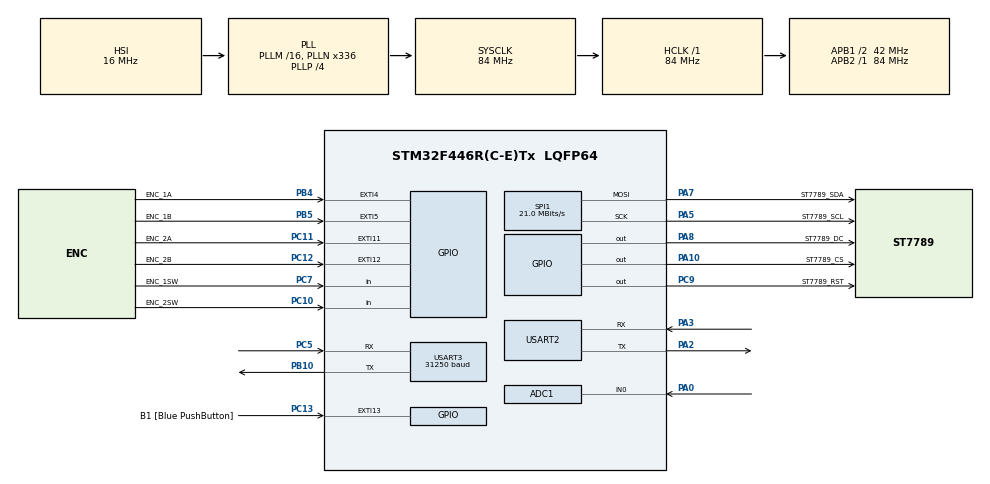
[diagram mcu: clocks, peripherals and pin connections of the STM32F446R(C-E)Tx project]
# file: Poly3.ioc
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ADC1.Channel-1\#ChannelRegularConversion=ADC_CHANNEL_0
ADC1.NbrOfConversionFlag=1
ADC1.Rank-1\#ChannelRegularConversion=1
ADC1.SamplingTime-1\#ChannelRegularConversion=ADC_SAMPLETIME_3CYCLES
ADC1.master=1
Dma.Request0=SPI1_TX
Dma.SPI1_TX.0.Direction=DMA_MEMORY_TO_PERIPH
Dma.SPI1_TX.0.FIFOMode=DMA_FIFOMODE_DISABLE
Dma.SPI1_TX.0.Instance=DMA2_Stream3
Dma.SPI1_TX.0.MemDataAlignment=DMA_MDATAALIGN_BYTE
Dma.SPI1_TX.0.MemInc=DMA_MINC_ENABLE
Dma.SPI1_TX.0.Mode=DMA_NORMAL
Dma.SPI1_TX.0.PeriphDataAlignment=DMA_PDATAALIGN_BYTE
Dma.SPI1_TX.0.PeriphInc=DMA_PINC_DISABLE
Dma.SPI1_TX.0.Priority=DMA_PRIORITY_VERY_HIGH
Mcu.Family=STM32F4
Mcu.Name=STM32F446R(C-E)Tx
Mcu.Package=LQFP64
NVIC.DMA2_Stream3_IRQn=true\:0\:0\:false\:false\:true\:false\:true\:true
NVIC.PriorityGroup=NVIC_PRIORITYGROUP_4
NVIC.TIM2_IRQn=true\:0\:0\:false\:false\:true\:true\:true\:true
NVIC.TIM6_DAC_IRQn=true\:15\:0\:false\:false\:true\:false\:true\:true
NVIC.TimeBase=TIM6_DAC_IRQn
NVIC.TimeBaseIP=TIM6
PA0-WKUP.Signal=ADCx_IN0
PA10.GPIO_Label=ST7789_CS
PA10.Signal=GPIO_Output
PA13.GPIO_Label=TMS
PA13.Mode=Serial_Wire
PA13.Signal=SYS_JTMS-SWDIO
PA14.GPIO_Label=TCK
PA14.Mode=Serial_Wire
PA14.Signal=SYS_JTCK-SWCLK
PA2.Mode=Asynchronous
PA2.Signal=USART2_TX
PA3.Mode=Asynchronous
PA3.Signal=USART2_RX
PA5.GPIO_Label=ST7789_SCL
PA5.Mode=TX_Only_Simplex_Unidirect_Master
PA5.Signal=SPI1_SCK
PA7.GPIO_Label=ST7789_SDA
PA7.Mode=TX_Only_Simplex_Unidirect_Master
PA7.Signal=SPI1_MOSI
PA8.GPIO_Label=ST7789_DC
PA8.Signal=GPIO_Output
PB10.Mode=Asynchronous
PB10.Signal=USART3_TX
PB3.GPIO_Label=SWO
PB3.Signal=SYS_JTDO-SWO
PB4.GPIO_Label=ENC_1A
PB4.GPIO_PuPd=GPIO_PULLUP
PB4.Signal=GPXTI4
PB5.GPIO_Label=ENC_1B
PB5.GPIO_PuPd=GPIO_PULLUP
PB5.Signal=GPXTI5
PC10.GPIO_Label=ENC_2SW
PC10.GPIO_PuPd=GPIO_PULLUP
PC10.Signal=GPIO_Input
PC11.GPIO_Label=ENC_2A
PC11.GPIO_PuPd=GPIO_PULLUP
PC11.Signal=GPXTI11
PC12.GPIO_Label=ENC_2B
PC12.GPIO_PuPd=GPIO_PULLUP
PC12.Signal=GPXTI12
PC13.GPIO_Label=B1 [Blue PushButton]
PC13.GPIO_ModeDefaultEXTI=GPIO_MODE_IT_FALLING
PC13.Signal=GPXTI13
PC14-OSC32_IN.Mode=LSE-External-Oscillator
PC14-OSC32_IN.Signal=RCC_OSC32_IN
PC15-OSC32_OUT.Mode=LSE-External-Oscillator
PC15-OSC32_OUT.Signal=RCC_OSC32_OUT
PC5.Mode=Asynchronous
PC5.Signal=USART3_RX
PC7.GPIO_Label=ENC_1SW
PC7.GPIO_PuPd=GPIO_PULLUP
PC7.Signal=GPIO_Input
PC9.GPIO_Label=ST7789_RST
PC9.Signal=GPIO_Output
PH0-OSC_IN.Mode=HSE-External-Oscillator
PH0-OSC_IN.Signal=RCC_OSC_IN
PH1-OSC_OUT.Mode=HSE-External-Oscillator
PH1-OSC_OUT.Signal=RCC_OSC_OUT
ProjectManager.HeapSize=0x200
ProjectManager.StackSize=0x400
ProjectManager.TargetToolchain=STM32CubeIDE
RCC.48MHZClocksFreq_Value=84000000
RCC.AHBFreq_Value=84000000
RCC.APB1CLKDivider=RCC_HCLK_DIV2
RCC.APB1Freq_Value=42000000
RCC.APB1TimFreq_Value=84000000
RCC.APB2Freq_Value=84000000
RCC.APB2TimFreq_Value=84000000
RCC.CortexFreq_Value=84000000
RCC.FLatency-AdvancedSettings=FLASH_LATENCY_2
RCC.HCLKFreq_Value=84000000
RCC.HSE_VALUE=8000000
RCC.HSI_VALUE=16000000
RCC.PLLN=336
RCC.PLLP=RCC_PLLP_DIV4
RCC.SYSCLKFreq_VALUE=84000000
RCC.SYSCLKSource=RCC_SYSCLKSOURCE_PLLCLK
RCC.USBFreq_Value=168000000
RCC.VCOOutputFreq_Value=336000000
SH.ADCx_IN0.0=ADC1_IN0,IN0
SPI1.BaudRatePrescaler=SPI_BAUDRATEPRESCALER_4
SPI1.CLKPhase=SPI_PHASE_2EDGE
SPI1.CLKPolarity=SPI_POLARITY_HIGH
SPI1.CalculateBaudRate=21.0 MBits/s
SPI1.Direction=SPI_DIRECTION_2LINES
SPI1.Mode=SPI_MODE_MASTER
SPI1.VirtualType=VM_MASTER
TIM2.Period=99
TIM2.Prescaler=8399
USART2.VirtualMode=VM_ASYNC
USART3.BaudRate=31250
USART3.VirtualMode=VM_ASYNC
VP_SYS_VS_tim6.Mode=TIM6
VP_TIM2_VS_ClockSourceINT.Mode=Internal
board=NUCLEO-F446RE

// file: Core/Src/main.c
/* USER CODE BEGIN Header */
/**
 ******************************************************************************
 * @file           : main.c
 * @brief          : Main program body
 ******************************************************************************
 * @attention
 *
 * Copyright (c) 2025 STMicroelectronics.
 * All rights reserved.
 *
 * This software is licensed under terms that can be found in the LICENSE file
 * in the root directory of this software component.
 * If no LICENSE file comes with this software, it is provided AS-IS.
 *
 ******************************************************************************
 */
/* USER CODE END Header */
#include "main.h"

/* USER CODE BEGIN Includes */
#include <stdbool.h>

#include "debug.h"

#include "display.h"
#include "st7789.h"
#include "sequencer.h"
#include "midi.h"

#include "encoder.h"
#include "potentiometer.h"
/* USER CODE END Includes */

/* USER CODE BEGIN PD */
#define DEBUG
/* USER CODE END PD */

// ADC handles for potentiometers
ADC_HandleTypeDef hadc1;

SPI_HandleTypeDef hspi1;
DMA_HandleTypeDef hdma_spi1_tx;

TIM_HandleTypeDef htim2;

UART_HandleTypeDef huart2;
UART_HandleTypeDef huart3;

/* USER CODE BEGIN PV */
encoder_t encoder1;
encoder_t encoder2;
potentiometer_t pot1;
/* USER CODE END PV */

void SystemClock_Config(void);
static void MX_GPIO_Init(void);
static void MX_DMA_Init(void);
static void MX_SPI1_Init(void);
static void MX_TIM2_Init(void);
static void MX_USART3_UART_Init(void);
static void MX_USART2_UART_Init(void);
static void MX_ADC1_Init(void);

/* USER CODE BEGIN 0 */
// Printf redirection
int _write(int file, char *ptr, int len) {
	HAL_UART_Transmit(&huart2, (uint8_t*) ptr, len, HAL_MAX_DELAY);
	return len;
}
/* USER CODE END 0 */

int main(void)
{

  /* MCU Configuration--------------------------------------------------------*/

  /* Reset of all peripherals, Initializes the Flash interface and the Systick. */
  HAL_Init();

  /* Configure the system clock */
  SystemClock_Config();

  /* Initialize all configured peripherals */
  MX_GPIO_Init();
  MX_DMA_Init();
  MX_SPI1_Init();
  MX_TIM2_Init();
  MX_USART3_UART_Init();
  MX_USART2_UART_Init();
  MX_ADC1_Init();
  /* USER CODE BEGIN 2 */
  debug_init();
	//Display_Init();
	ST7789_Init();
	ST7789_Test();

	encoder_init(&encoder1, 1);
	encoder_init(&encoder2, 2);
	pot_init(&pot1, &hadc1, ADC_CHANNEL_0, 1, POT_LINEAR);
  /* USER CODE END 2 */

  /* Infinite loop */
  /* USER CODE BEGIN WHILE */
	debug_printf("Starting main loop...\n\r");
	while (1) {
    /* USER CODE END WHILE */

    /* USER CODE BEGIN 3 */
		// Read pins (adjust to your actual GPIO)

		        // Update encoder
		        encoder_update(&encoder1);

		        // Update button
		        encoder_update_button(&encoder1);

		        HAL_Delay(1);  // Poll every 1ms

		// Update pots
		       /* if (pot_update(&pot1)) {
		            uint16_t bpm = pot_get_range(&pot1, 60, 240);  // 60-240 BPM
		            debug_printf("Tempo: %d BPM\n\r", bpm);
		            // Send MIDI CC or update tempo
		        }

		        HAL_Delay(50);*/
	}
  /* USER CODE END 3 */
}

void SystemClock_Config(void)
{
  RCC_OscInitTypeDef RCC_OscInitStruct = {0};
  RCC_ClkInitTypeDef RCC_ClkInitStruct = {0};

  /** Configure the main internal regulator output voltage
  */
  __HAL_RCC_PWR_CLK_ENABLE();
  __HAL_PWR_VOLTAGESCALING_CONFIG(PWR_REGULATOR_VOLTAGE_SCALE3);

  /** Initializes the RCC Oscillators according to the specified parameters
  * in the RCC_OscInitTypeDef structure.
  */
  RCC_OscInitStruct.OscillatorType = RCC_OSCILLATORTYPE_HSI;
  RCC_OscInitStruct.HSIState = RCC_HSI_ON;
  RCC_OscInitStruct.HSICalibrationValue = RCC_HSICALIBRATION_DEFAULT;
  RCC_OscInitStruct.PLL.PLLState = RCC_PLL_ON;
  RCC_OscInitStruct.PLL.PLLSource = RCC_PLLSOURCE_HSI;
  RCC_OscInitStruct.PLL.PLLM = 16;
  RCC_OscInitStruct.PLL.PLLN = 336;
  RCC_OscInitStruct.PLL.PLLP = RCC_PLLP_DIV4;
  RCC_OscInitStruct.PLL.PLLQ = 2;
  RCC_OscInitStruct.PLL.PLLR = 2;
  if (HAL_RCC_OscConfig(&RCC_OscInitStruct) != HAL_OK)
  {
    Error_Handler();
  }

  /** Initializes the CPU, AHB and APB buses clocks
  */
  RCC_ClkInitStruct.ClockType = RCC_CLOCKTYPE_HCLK|RCC_CLOCKTYPE_SYSCLK
                              |RCC_CLOCKTYPE_PCLK1|RCC_CLOCKTYPE_PCLK2;
  RCC_ClkInitStruct.SYSCLKSource = RCC_SYSCLKSOURCE_PLLCLK;
  RCC_ClkInitStruct.AHBCLKDivider = RCC_SYSCLK_DIV1;
  RCC_ClkInitStruct.APB1CLKDivider = RCC_HCLK_DIV2;
  RCC_ClkInitStruct.APB2CLKDivider = RCC_HCLK_DIV1;

  if (HAL_RCC_ClockConfig(&RCC_ClkInitStruct, FLASH_LATENCY_2) != HAL_OK)
  {
    Error_Handler();
  }
}

static void MX_ADC1_Init(void)
{

  ADC_ChannelConfTypeDef sConfig = {0};

  /** Configure the global features of the ADC (Clock, Resolution, Data Alignment and number of conversion)
  */
  hadc1.Instance = ADC1;
  hadc1.Init.ClockPrescaler = ADC_CLOCK_SYNC_PCLK_DIV4;
  hadc1.Init.Resolution = ADC_RESOLUTION_12B;
  hadc1.Init.ScanConvMode = DISABLE;
  hadc1.Init.ContinuousConvMode = DISABLE;
  hadc1.Init.DiscontinuousConvMode = DISABLE;
  hadc1.Init.ExternalTrigConvEdge = ADC_EXTERNALTRIGCONVEDGE_NONE;
  hadc1.Init.ExternalTrigConv = ADC_SOFTWARE_START;
  hadc1.Init.DataAlign = ADC_DATAALIGN_RIGHT;
  hadc1.Init.NbrOfConversion = 1;
  hadc1.Init.DMAContinuousRequests = DISABLE;
  hadc1.Init.EOCSelection = ADC_EOC_SINGLE_CONV;
  if (HAL_ADC_Init(&hadc1) != HAL_OK)
  {
    Error_Handler();
  }

  /** Configure for the selected ADC regular channel its corresponding rank in the sequencer and its sample time.
  */
  sConfig.Channel = ADC_CHANNEL_0;
  sConfig.Rank = 1;
  sConfig.SamplingTime = ADC_SAMPLETIME_3CYCLES;
  if (HAL_ADC_ConfigChannel(&hadc1, &sConfig) != HAL_OK)
  {
    Error_Handler();
  }

}

static void MX_SPI1_Init(void)
{

  /* SPI1 parameter configuration*/
  hspi1.Instance = SPI1;
  hspi1.Init.Mode = SPI_MODE_MASTER;
  hspi1.Init.Direction = SPI_DIRECTION_2LINES;
  hspi1.Init.DataSize = SPI_DATASIZE_8BIT;
  hspi1.Init.CLKPolarity = SPI_POLARITY_HIGH;
  hspi1.Init.CLKPhase = SPI_PHASE_2EDGE;
  hspi1.Init.NSS = SPI_NSS_SOFT;
  hspi1.Init.BaudRatePrescaler = SPI_BAUDRATEPRESCALER_4;
  hspi1.Init.FirstBit = SPI_FIRSTBIT_MSB;
  hspi1.Init.TIMode = SPI_TIMODE_DISABLE;
  hspi1.Init.CRCCalculation = SPI_CRCCALCULATION_DISABLE;
  hspi1.Init.CRCPolynomial = 10;
  if (HAL_SPI_Init(&hspi1) != HAL_OK)
  {
    Error_Handler();
  }

}

static void MX_TIM2_Init(void)
{

  TIM_ClockConfigTypeDef sClockSourceConfig = {0};
  TIM_MasterConfigTypeDef sMasterConfig = {0};

  htim2.Instance = TIM2;
  htim2.Init.Prescaler = 8399;
  htim2.Init.CounterMode = TIM_COUNTERMODE_UP;
  htim2.Init.Period = 99;
  htim2.Init.ClockDivision = TIM_CLOCKDIVISION_DIV1;
  htim2.Init.AutoReloadPreload = TIM_AUTORELOAD_PRELOAD_DISABLE;
  if (HAL_TIM_Base_Init(&htim2) != HAL_OK)
  {
    Error_Handler();
  }
  sClockSourceConfig.ClockSource = TIM_CLOCKSOURCE_INTERNAL;
  if (HAL_TIM_ConfigClockSource(&htim2, &sClockSourceConfig) != HAL_OK)
  {
    Error_Handler();
  }
  sMasterConfig.MasterOutputTrigger = TIM_TRGO_RESET;
  sMasterConfig.MasterSlaveMode = TIM_MASTERSLAVEMODE_DISABLE;
  if (HAL_TIMEx_MasterConfigSynchronization(&htim2, &sMasterConfig) != HAL_OK)
  {
    Error_Handler();
  }
  /* USER CODE BEGIN TIM2_Init 2 */
	HAL_NVIC_SetPriority(TIM2_IRQn, 5, 0);
	HAL_NVIC_EnableIRQ(TIM2_IRQn);
	HAL_TIM_Base_Start_IT(&htim2);
  /* USER CODE END TIM2_Init 2 */

}

static void MX_USART2_UART_Init(void)
{

  huart2.Instance = USART2;
  huart2.Init.BaudRate = 115200;
  huart2.Init.WordLength = UART_WORDLENGTH_8B;
  huart2.Init.StopBits = UART_STOPBITS_1;
  huart2.Init.Parity = UART_PARITY_NONE;
  huart2.Init.Mode = UART_MODE_TX_RX;
  huart2.Init.HwFlowCtl = UART_HWCONTROL_NONE;
  huart2.Init.OverSampling = UART_OVERSAMPLING_16;
  if (HAL_UART_Init(&huart2) != HAL_OK)
  {
    Error_Handler();
  }

}

static void MX_USART3_UART_Init(void)
{

  huart3.Instance = USART3;
  huart3.Init.BaudRate = 31250;
  huart3.Init.WordLength = UART_WORDLENGTH_8B;
  huart3.Init.StopBits = UART_STOPBITS_1;
  huart3.Init.Parity = UART_PARITY_NONE;
  huart3.Init.Mode = UART_MODE_TX_RX;
  huart3.Init.HwFlowCtl = UART_HWCONTROL_NONE;
  huart3.Init.OverSampling = UART_OVERSAMPLING_16;
  if (HAL_UART_Init(&huart3) != HAL_OK)
  {
    Error_Handler();
  }

}

static void MX_DMA_Init(void)
{

  /* DMA controller clock enable */
  __HAL_RCC_DMA2_CLK_ENABLE();

  /* DMA interrupt init */
  /* DMA2_Stream3_IRQn interrupt configuration */
  HAL_NVIC_SetPriority(DMA2_Stream3_IRQn, 0, 0);
  HAL_NVIC_EnableIRQ(DMA2_Stream3_IRQn);

}

static void MX_GPIO_Init(void)
{
  GPIO_InitTypeDef GPIO_InitStruct = {0};

  /* GPIO Ports Clock Enable */
  __HAL_RCC_GPIOC_CLK_ENABLE();
  __HAL_RCC_GPIOH_CLK_ENABLE();
  __HAL_RCC_GPIOA_CLK_ENABLE();
  __HAL_RCC_GPIOB_CLK_ENABLE();

  /*Configure GPIO pin Output Level */
  HAL_GPIO_WritePin(ST7789_RST_GPIO_Port, ST7789_RST_Pin, GPIO_PIN_RESET);

  /*Configure GPIO pin Output Level */
  HAL_GPIO_WritePin(GPIOA, ST7789_DC_Pin|ST7789_CS_Pin, GPIO_PIN_RESET);

  /*Configure GPIO pin : B1_Pin */
  GPIO_InitStruct.Pin = B1_Pin;
  GPIO_InitStruct.Mode = GPIO_MODE_IT_FALLING;
  GPIO_InitStruct.Pull = GPIO_NOPULL;
  HAL_GPIO_Init(B1_GPIO_Port, &GPIO_InitStruct);

  /*Configure GPIO pins : ENC_1SW_Pin ENC_2SW_Pin */
  GPIO_InitStruct.Pin = ENC_1SW_Pin|ENC_2SW_Pin;
  GPIO_InitStruct.Mode = GPIO_MODE_INPUT;
  GPIO_InitStruct.Pull = GPIO_PULLUP;
  HAL_GPIO_Init(GPIOC, &GPIO_InitStruct);

  /*Configure GPIO pin : ST7789_RST_Pin */
  GPIO_InitStruct.Pin = ST7789_RST_Pin;
  GPIO_InitStruct.Mode = GPIO_MODE_OUTPUT_PP;
  GPIO_InitStruct.Pull = GPIO_NOPULL;
  GPIO_InitStruct.Speed = GPIO_SPEED_FREQ_LOW;
  HAL_GPIO_Init(ST7789_RST_GPIO_Port, &GPIO_InitStruct);

  /*Configure GPIO pins : ST7789_DC_Pin ST7789_CS_Pin */
  GPIO_InitStruct.Pin = ST7789_DC_Pin|ST7789_CS_Pin;
  GPIO_InitStruct.Mode = GPIO_MODE_OUTPUT_PP;
  GPIO_InitStruct.Pull = GPIO_NOPULL;
  GPIO_InitStruct.Speed = GPIO_SPEED_FREQ_LOW;
  HAL_GPIO_Init(GPIOA, &GPIO_InitStruct);

  /*Configure GPIO pins : ENC_2A_Pin ENC_2B_Pin */
  GPIO_InitStruct.Pin = ENC_2A_Pin|ENC_2B_Pin;
  GPIO_InitStruct.Mode = GPIO_MODE_IT_RISING;
  GPIO_InitStruct.Pull = GPIO_PULLUP;
  HAL_GPIO_Init(GPIOC, &GPIO_InitStruct);

  /*Configure GPIO pins : ENC_1A_Pin ENC_1B_Pin */
  GPIO_InitStruct.Pin = ENC_1A_Pin|ENC_1B_Pin;
  GPIO_InitStruct.Mode = GPIO_MODE_IT_RISING;
  GPIO_InitStruct.Pull = GPIO_PULLUP;
  HAL_GPIO_Init(GPIOB, &GPIO_InitStruct);

}

void HAL_TIM_PeriodElapsedCallback(TIM_HandleTypeDef *htim)
{
  if (htim->Instance == TIM6)
  {
    HAL_IncTick();
  }
}

void Error_Handler(void)
{
	__disable_irq();
	while (1) {
	}
}
